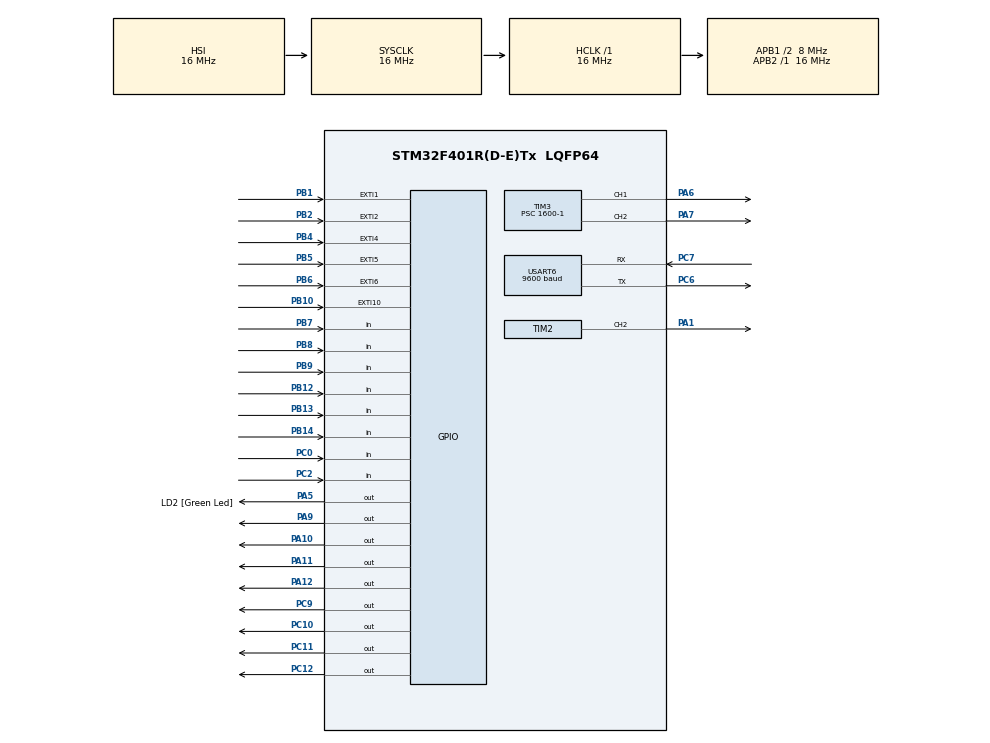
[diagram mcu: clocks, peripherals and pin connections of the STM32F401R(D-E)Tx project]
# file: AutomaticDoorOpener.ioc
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Mcu.Family=STM32F4
Mcu.Name=STM32F401R(D-E)Tx
Mcu.Package=LQFP64
NVIC.EXTI15_10_IRQn=true\:0\:0\:false\:false\:true\:true\:true
NVIC.EXTI1_IRQn=true\:0\:0\:false\:false\:true\:true\:true
NVIC.EXTI2_IRQn=true\:0\:0\:false\:false\:true\:true\:true
NVIC.EXTI4_IRQn=true\:0\:0\:false\:false\:true\:true\:true
NVIC.EXTI9_5_IRQn=true\:0\:0\:false\:false\:true\:true\:true
NVIC.PriorityGroup=NVIC_PRIORITYGROUP_0
PA1.Signal=S_TIM2_CH2
PA10.Signal=GPIO_Output
PA11.Signal=GPIO_Output
PA12.Signal=GPIO_Output
PA13.GPIO_Label=TMS
PA13.Mode=Serial_Wire
PA13.Signal=SYS_JTMS-SWDIO
PA14.GPIO_Label=TCK
PA14.Mode=Serial_Wire
PA14.Signal=SYS_JTCK-SWCLK
PA5.GPIO_Label=LD2 [Green Led]
PA5.GPIO_Mode=GPIO_MODE_OUTPUT_PP
PA5.GPIO_PuPd=GPIO_NOPULL
PA5.GPIO_Speed=GPIO_SPEED_FREQ_LOW
PA5.Signal=GPIO_Output
PA6.Signal=S_TIM3_CH1
PA7.Signal=S_TIM3_CH2
PA9.Signal=GPIO_Output
PB1.GPIO_ModeDefaultEXTI=GPIO_MODE_IT_RISING_FALLING
PB1.Signal=GPXTI1
PB10.Signal=GPXTI10
PB12.Signal=GPIO_Input
PB13.Signal=GPIO_Input
PB14.Signal=GPIO_Input
PB2.GPIO_ModeDefaultEXTI=GPIO_MODE_IT_RISING_FALLING
PB2.Signal=GPXTI2
PB4.Signal=GPXTI4
PB5.Signal=GPXTI5
PB6.Signal=GPXTI6
PB7.Signal=GPIO_Input
PB8.Signal=GPIO_Input
PB9.Signal=GPIO_Input
PC0.Signal=GPIO_Input
PC10.Signal=GPIO_Output
PC11.Signal=GPIO_Output
PC12.Signal=GPIO_Output
PC14-OSC32_IN.Mode=LSE-External-Oscillator
PC14-OSC32_IN.Signal=RCC_OSC32_IN
PC15-OSC32_OUT.Mode=LSE-External-Oscillator
PC15-OSC32_OUT.Signal=RCC_OSC32_OUT
PC2.Signal=GPIO_Input
PC6.Mode=Asynchronous
PC6.Signal=USART6_TX
PC7.Mode=Asynchronous
PC7.Signal=USART6_RX
PC9.Signal=GPIO_Output
PH0\ -\ OSC_IN.Mode=HSE-External-Clock-Source
PH0\ -\ OSC_IN.Signal=RCC_OSC_IN
PH1\ -\ OSC_OUT.Mode=HSE-External-Clock-Source
PH1\ -\ OSC_OUT.Signal=RCC_OSC_OUT
ProjectManager.HeapSize=0x200
ProjectManager.StackSize=0x400
ProjectManager.TargetToolchain=STM32CubeIDE
RCC.48MHZClocksFreq_Value=48000000
RCC.AHBFreq_Value=16000000
RCC.APB1CLKDivider=RCC_HCLK_DIV2
RCC.APB1Freq_Value=8000000
RCC.APB1TimFreq_Value=16000000
RCC.APB2Freq_Value=16000000
RCC.APB2TimFreq_Value=16000000
RCC.CortexFreq_Value=16000000
RCC.HCLKFreq_Value=16000000
RCC.HSE_VALUE=8000000
RCC.HSI_VALUE=16000000
RCC.PLLN=336
RCC.PLLP=RCC_PLLP_DIV4
RCC.PLLQ=7
RCC.SYSCLKFreq_VALUE=16000000
RCC.VCOOutputFreq_Value=336000000
SH.S_TIM2_CH2.0=TIM2_CH2,PWM Generation2 CH2
SH.S_TIM3_CH1.0=TIM3_CH1,PWM Generation1 CH1
SH.S_TIM3_CH2.0=TIM3_CH2,PWM Generation2 CH2
TIM2.Channel-PWM\ Generation2\ CH2=TIM_CHANNEL_2
TIM2.Period=5000
TIM2.Prescaler=160-1
TIM2.Pulse-PWM\ Generation2\ CH2=1
TIM3.Channel-PWM\ Generation1\ CH1=TIM_CHANNEL_1
TIM3.Channel-PWM\ Generation2\ CH2=TIM_CHANNEL_2
TIM3.Period=999
TIM3.Prescaler=1600-1
TIM3.Pulse-PWM\ Generation1\ CH1=0
USART6.BaudRate=9600
USART6.VirtualMode=VM_ASYNC
VP_TIM1_VS_ClockSourceINT.Mode=Internal
VP_TIM2_VS_ClockSourceINT.Mode=Internal
VP_TIM3_VS_ClockSourceINT.Mode=Internal
board=NUCLEO-F401RE

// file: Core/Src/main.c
/* USER CODE BEGIN Header */
/**
  ******************************************************************************
  * @file           : main.c
  * @brief          : Main program body
  ******************************************************************************
  * @attention
  *
  * <h2><center>&copy; Copyright (c) 2021 STMicroelectronics.
  * All rights reserved.</center></h2>
  *
  * This software component is licensed by ST under BSD 3-Clause license,
  * the "License"; You may not use this file except in compliance with the
  * License. You may obtain a copy of the License at:
  *                        opensource.org/licenses/BSD-3-Clause
  *
  ******************************************************************************
  */
/* USER CODE END Header */
#include "main.h"

/* USER CODE BEGIN Includes */
#include "stdio.h"
/* USER CODE END Includes */

/* USER CODE BEGIN PTD */
typedef enum
{
  LOCKED = 0,
  SETUP,
  RUN,
  IDLE
} Op_Mode;

/* USER CODE END PTD */

/* USER CODE BEGIN PM */
#define MAX_REVOLUTIONS		1200
/* USER CODE END PM */

TIM_HandleTypeDef htim1;
TIM_HandleTypeDef htim2;
TIM_HandleTypeDef htim3;

UART_HandleTypeDef huart6;

/* USER CODE BEGIN PV */
Op_Mode mode = IDLE;
uint8_t interrupt_flag = 0;
uint8_t outside_us_interrupt_flag = 0;
uint8_t inside_us_interrupt_flag = 0;
uint8_t locked_mode_buff[] = "Locked\r\n";
uint8_t locked_mode_instr_buff[] = "Open:0 Closed:1\r\n";
uint8_t setup_mode_buff[] = "Setup\r\n";
uint8_t run_mode_buff[] = "Run\r\n";
uint8_t key_buff[1];
uint8_t no_obj_buff[] = "No object detected.";
uint8_t parameter_buff[16];
uint8_t outside_dist_buff[16];
uint8_t inside_dist_buff[16];
uint16_t outside_dist = 0;
uint16_t inside_dist = 0;
uint16_t outside_pulse_start;
uint16_t outside_pulse_width = 0;
uint16_t inside_pulse_start;
uint16_t inside_pulse_width = 0;
uint16_t num_revolutions = 0;
uint8_t p1 = 2;
uint8_t p2 = 2;
uint8_t p3 = 5;
uint8_t p4 = 1;
uint8_t p5 = 1;
uint8_t command_code = 254;
uint8_t clear_code = 1;
uint8_t address_code;
uint8_t opening = 0;
uint8_t closing = 0;
uint8_t collision_occurred = 0;
uint8_t locked_pos = 2; // open: 0, closed: 1, not set: 2
/* USER CODE END PV */

void SystemClock_Config(void);
static void MX_GPIO_Init(void);
static void MX_USART6_UART_Init(void);
static void MX_TIM3_Init(void);
static void MX_TIM1_Init(void);
static void MX_TIM2_Init(void);

/* USER CODE BEGIN 0 */
void poll_keypad() {
  key_buff[0] = ' ';
  /* Read from keypad */
  /* Rotate pulses between each row and read from each column */
  for (int i = 0; i < 4; i++) {
	  if (i == 0) { // Row 1
		  HAL_GPIO_WritePin(GPIOC, GPIO_PIN_9, GPIO_PIN_SET);
		  // Read columns
		  if (HAL_GPIO_ReadPin(GPIOB, GPIO_PIN_12) == GPIO_PIN_SET) { // Column 1
			  key_buff[0] = '1';
		  } else if (HAL_GPIO_ReadPin(GPIOB, GPIO_PIN_13) == GPIO_PIN_SET) { // Column 2
			  key_buff[0] = '2';
		  } else if (HAL_GPIO_ReadPin(GPIOB, GPIO_PIN_14) == GPIO_PIN_SET) { // Column 3
			  key_buff[0] = '3';
		  }
		  HAL_GPIO_WritePin(GPIOC, GPIO_PIN_9, GPIO_PIN_RESET);
	  } else if (i == 1) { // Row 2
		  HAL_GPIO_WritePin(GPIOC, GPIO_PIN_10, GPIO_PIN_SET);
		  // Read columns
		  if (HAL_GPIO_ReadPin(GPIOB, GPIO_PIN_12) == GPIO_PIN_SET) { // Column 1
			  key_buff[0] = '4';
		  } else if (HAL_GPIO_ReadPin(GPIOB, GPIO_PIN_13) == GPIO_PIN_SET) { // Column 2
			  key_buff[0] = '5';
		  } else if (HAL_GPIO_ReadPin(GPIOB, GPIO_PIN_14) == GPIO_PIN_SET) { // Column 3
			  key_buff[0] = '6';
		  }
		  HAL_GPIO_WritePin(GPIOC, GPIO_PIN_10, GPIO_PIN_RESET);
	  } else if (i == 2) { // Row 3
		  HAL_GPIO_WritePin(GPIOC, GPIO_PIN_11, GPIO_PIN_SET);
		  // Read columns
		  if (HAL_GPIO_ReadPin(GPIOB, GPIO_PIN_12) == GPIO_PIN_SET) { // Column 1
			  key_buff[0] = '7';
		  } else if (HAL_GPIO_ReadPin(GPIOB, GPIO_PIN_13) == GPIO_PIN_SET) { // Column 2
			  key_buff[0] = '8';
		  } else if (HAL_GPIO_ReadPin(GPIOB, GPIO_PIN_14) == GPIO_PIN_SET) { // Column 3
			  key_buff[0] = '9';
		  }
		  HAL_GPIO_WritePin(GPIOC, GPIO_PIN_11, GPIO_PIN_RESET);
	  } else if (i == 3) { // Row 4
		  HAL_GPIO_WritePin(GPIOC, GPIO_PIN_12, GPIO_PIN_SET);
		  // Read columns
		  if (HAL_GPIO_ReadPin(GPIOB, GPIO_PIN_12) == GPIO_PIN_SET) { // Column 1
			  key_buff[0] = '*';
		  } else if (HAL_GPIO_ReadPin(GPIOB, GPIO_PIN_13) == GPIO_PIN_SET) { // Column 2
			  key_buff[0] = '0';
		  } else if (HAL_GPIO_ReadPin(GPIOB, GPIO_PIN_14) == GPIO_PIN_SET) { // Column 3
			  key_buff[0] = '#';
		  }
		  HAL_GPIO_WritePin(GPIOC, GPIO_PIN_12, GPIO_PIN_RESET);
	  }
	  HAL_Delay(5);
  }
}

void print_LCD(uint8_t line, uint8_t col, uint8_t* msg, uint8_t msg_len) {
	if (line == 1) {
		address_code = 128 + col;
	} else if (line == 2) {
		address_code = 192 + col;
	}
	HAL_UART_Transmit(&huart6, &command_code, 1, 1000);
	HAL_UART_Transmit(&huart6, &address_code, 1, 1000);
	HAL_UART_Transmit(&huart6, msg, msg_len, 1000);
}

void clear_LCD() {
	// Clear LCD display
	HAL_UART_Transmit(&huart6, &command_code, 1, 1000);
	HAL_UART_Transmit(&huart6, &clear_code, 1, 1000);
}

/* Spin motor clockwise */
void open_door() {
	// Ramp up to 400 rpm (0-50% duty cycle)
	if (num_revolutions < 50 / p4) {
	  uint32_t pulse = (p4 * (num_revolutions + 1) * 10) - 1;
	  __HAL_TIM_SET_COMPARE(&htim3, TIM_CHANNEL_1, pulse);
	  __HAL_TIM_SET_COMPARE(&htim3, TIM_CHANNEL_2, 0);
	}

	// Ramp down to decelerate (50-0% duty cycle)
	if (num_revolutions < MAX_REVOLUTIONS && num_revolutions >= MAX_REVOLUTIONS - 50 / p5) {
	  uint32_t pulse = 499 - (p5 * ((50 / p5) - (MAX_REVOLUTIONS - num_revolutions) + 1) * 10) + 1;
	  __HAL_TIM_SET_COMPARE(&htim3, TIM_CHANNEL_1, pulse);
	  __HAL_TIM_SET_COMPARE(&htim3, TIM_CHANNEL_2, 0);
	}
}

/* Spin motor counterclockwise */
void close_door() {
	// Ramp up to 400 rpm (0-50% duty cycle)
	if (num_revolutions < 50 / p4) {
	  uint32_t pulse = (p4 * (num_revolutions + 1) * 10) - 1;
	  __HAL_TIM_SET_COMPARE(&htim3, TIM_CHANNEL_2, pulse);
	  __HAL_TIM_SET_COMPARE(&htim3, TIM_CHANNEL_1, 0);
	}

	// Ramp down to decelerate (50-0% duty cycle)
	if (num_revolutions < MAX_REVOLUTIONS && num_revolutions >= MAX_REVOLUTIONS - 50 / p5) {
	  uint32_t pulse = 499 - (p5 * ((50 / p5) - (MAX_REVOLUTIONS - num_revolutions) + 1) * 10) + 1;
	  __HAL_TIM_SET_COMPARE(&htim3, TIM_CHANNEL_2, pulse);
	  __HAL_TIM_SET_COMPARE(&htim3, TIM_CHANNEL_1, 0);
	}
}

/* Restrict to 200 rpm after collision */
void close_door_after_collision() {
	// Ramp up to 200 rpm (0-25% duty cycle)
	if (num_revolutions < 25 / p4) {
	  uint32_t pulse = (p4 * (num_revolutions + 1) * 10) - 1;
	  __HAL_TIM_SET_COMPARE(&htim3, TIM_CHANNEL_2, pulse);
	  __HAL_TIM_SET_COMPARE(&htim3, TIM_CHANNEL_1, 0);
	}

	// Ramp down to decelerate (25-0% duty cycle)
	if (num_revolutions < MAX_REVOLUTIONS && num_revolutions >= MAX_REVOLUTIONS - 25 / p5) {
	  uint32_t pulse = 249 - (p5 * ((25 / p5) - (MAX_REVOLUTIONS - num_revolutions) + 1) * 10) + 1;
	  __HAL_TIM_SET_COMPARE(&htim3, TIM_CHANNEL_2, pulse);
	  __HAL_TIM_SET_COMPARE(&htim3, TIM_CHANNEL_1, 0);
	}
}

void stop_door() {
	// Set PWM duty cycle to 100% for both inputs to turn off motor
	__HAL_TIM_SET_COMPARE(&htim3, TIM_CHANNEL_1, 999);
	__HAL_TIM_SET_COMPARE(&htim3, TIM_CHANNEL_2, 999);
}
/* USER CODE END 0 */

int main(void)
{
  /* USER CODE BEGIN 1 */

  uint8_t finished_setup = 0;
  uint8_t setup_stage = 1;
  /* USER CODE END 1 */

  /* MCU Configuration--------------------------------------------------------*/

  /* Reset of all peripherals, Initializes the Flash interface and the Systick. */
  HAL_Init();

  /* Configure the system clock */
  SystemClock_Config();

  /* Initialize all configured peripherals */
  MX_GPIO_Init();
  MX_USART6_UART_Init();
  MX_TIM3_Init();
  MX_TIM1_Init();
  MX_TIM2_Init();
  /* USER CODE BEGIN 2 */
  HAL_TIM_Base_Start(&htim3); //Start the TIM3 module
  HAL_TIM_PWM_Start(&htim3, TIM_CHANNEL_1); //Start PWM on CH1
  HAL_TIM_PWM_Start(&htim3, TIM_CHANNEL_2); //Start PWM on CH2

  HAL_TIM_Base_Start(&htim2); //Start the TIM2 module
  HAL_TIM_PWM_Start(&htim2, TIM_CHANNEL_2); //Start PWM on CH2
  /* USER CODE END 2 */

  /* Infinite loop */
  while (1)
  {

    /* USER CODE BEGIN 3 */

	  /* Get operating mode from push buttons and write to LCD display */
	  if (interrupt_flag == 1) {
		  clear_LCD();
		  HAL_Delay(20);
		  if (mode == LOCKED) {
			  print_LCD(1, 0, locked_mode_buff, sizeof(locked_mode_buff));
			  print_LCD(2, 0, locked_mode_instr_buff, sizeof(locked_mode_instr_buff));
		  } else if (mode == SETUP) {
			  finished_setup = 0;
			  setup_stage = 1;
			  print_LCD(1, 0, setup_mode_buff, sizeof(setup_mode_buff));
			  print_LCD(2, 0, parameter_buff, sprintf((char*) parameter_buff, "P%d: %d feet", 1, p1));
		  } else if (mode == RUN) {
			  print_LCD(1, 0, run_mode_buff, sizeof(run_mode_buff));
			  uint32_t pulse = (p4 * 10) - 1;
			  __HAL_TIM_SET_COMPARE(&htim3, TIM_CHANNEL_1, pulse);
		  }
		  interrupt_flag = 0;
	  }

	  /* Flash Red LED when door is in motion (none of the switches are on and not in setup mode) */
	  if (HAL_GPIO_ReadPin(GPIOB, GPIO_PIN_7) == GPIO_PIN_RESET &&
			  HAL_GPIO_ReadPin(GPIOB, GPIO_PIN_8) == GPIO_PIN_RESET &&
			  HAL_GPIO_ReadPin(GPIOB, GPIO_PIN_9) == GPIO_PIN_RESET &&
			  (mode == LOCKED || mode == RUN)) {
		  HAL_GPIO_TogglePin(GPIOA, GPIO_PIN_9);
		  HAL_Delay(100);
	  } else {
		  /* Turn off LED */
		  HAL_GPIO_WritePin(GPIOA, GPIO_PIN_9, GPIO_PIN_RESET);
	  }

	  /* Flash Yellow LED if collision switch is hit */
	  if (HAL_GPIO_ReadPin(GPIOB, GPIO_PIN_9) == GPIO_PIN_SET && (mode == LOCKED || mode == RUN)) {
		  collision_occurred = 1;
		  stop_door();
		  HAL_GPIO_TogglePin(GPIOA, GPIO_PIN_10);
		  HAL_Delay(100);
	  } else {
		  /* Turn off LED */
		  HAL_GPIO_WritePin(GPIOA, GPIO_PIN_10, GPIO_PIN_RESET);

		  if (collision_occurred == 1 && HAL_GPIO_ReadPin(GPIOB, GPIO_PIN_9) == GPIO_PIN_RESET && (mode == LOCKED || mode == RUN)) {
			  if (opening == 1) {
				  num_revolutions = MAX_REVOLUTIONS - num_revolutions;
			  }
			  // Start closing door
			  closing = 1;
			  opening = 0;
		  }
	  }

	  // Get distance from outside sensor
	  if (outside_us_interrupt_flag == 1 && mode == RUN) {
		  outside_dist = outside_pulse_width * 10; // in microseconds
		  if (outside_dist == 38000) { // 38 ms
			  // No object
			  HAL_GPIO_WritePin(GPIOA, GPIO_PIN_11, GPIO_PIN_RESET);
		  } else {
			  outside_dist = outside_dist / 58; // cm
			  /* Turn on Green LED1 if outside sensor detects object within P1 distance */
			  if (outside_dist <= p1 * 30.48) {
				  HAL_GPIO_WritePin(GPIOA, GPIO_PIN_11, GPIO_PIN_SET);
				  if (closing == 1) {
					  num_revolutions = MAX_REVOLUTIONS - num_revolutions;
				  }
				  // Open door when object is nearby
				  opening = 1;
				  closing = 0;
			  } else {
				  HAL_GPIO_WritePin(GPIOA, GPIO_PIN_11, GPIO_PIN_RESET);
			  }
		  }
		  outside_us_interrupt_flag = 0;
	  }

	  // Get distance from inside sensor
	  if (inside_us_interrupt_flag == 1 && mode == RUN) {
		  inside_dist = inside_pulse_width * 10; // in microseconds
		  if (inside_dist == 38000) { // 38 ms
			  // No object
			  HAL_GPIO_WritePin(GPIOA, GPIO_PIN_12, GPIO_PIN_RESET);
		  } else {
			  inside_dist = inside_dist / 58; // cm
			  /* Turn on Green LED2 if inside sensor detects object within P2 distance */
			  if (inside_dist <= p2 * 30.48) {
				  HAL_GPIO_WritePin(GPIOA, GPIO_PIN_12, GPIO_PIN_SET);
				  if (closing == 1) {
					  num_revolutions = MAX_REVOLUTIONS - num_revolutions;
				  }
				  // Open door when object is nearby
				  opening = 1;
				  closing = 0;
			  } else {
				  HAL_GPIO_WritePin(GPIOA, GPIO_PIN_12, GPIO_PIN_RESET);
			  }
		  }
		  inside_us_interrupt_flag = 0;
	  }

	  /* LOCKED mode */
	  if (mode == LOCKED) {
		  // Get input from user (fully open or fully close)
		  poll_keypad();
		  if (key_buff[0] == '0') { // Open position
			  locked_pos = 0;
		  } else if (key_buff[0] == '1') { // Closed position
			  locked_pos = 1;
		  }

		  if (locked_pos == 0) { // Open
			  open_door();
		  } else if (locked_pos == 1) { // Close
			  if (collision_occurred == 1 && HAL_GPIO_ReadPin(GPIOB, GPIO_PIN_9) == GPIO_PIN_RESET) {
				  close_door_after_collision();
			  } else if (collision_occurred == 0) {
				  close_door();
			  }
		  }

		  /* Disable door motor power when limit switches are hit (fully closed/fully open) */
		  if (HAL_GPIO_ReadPin(GPIOB, GPIO_PIN_7) == GPIO_PIN_SET || HAL_GPIO_ReadPin(GPIOB, GPIO_PIN_8) == GPIO_PIN_SET) {
			  locked_pos = 2; // clear position
			  stop_door();
			  collision_occurred = 0;
			  num_revolutions = 0;
		  }
	  }

	  /* SETUP mode: Get settings from user */
	  if (mode == SETUP) {
		  // Disable door motor
		  __HAL_TIM_SET_COMPARE(&htim3, TIM_CHANNEL_1, 999);
		  __HAL_TIM_SET_COMPARE(&htim3, TIM_CHANNEL_2, 999);

		  if (!finished_setup) {
			  poll_keypad();

			  // Move to next setup stage
			  if (key_buff[0] == '#') {
				  setup_stage = (setup_stage % 5) + 1;
			  }

			  // Finish setup
			  if (key_buff[0] == '*') {
				  finished_setup = 1;
				  clear_LCD();
			  } else {
				  if (setup_stage == 1) { // p1
					  if (key_buff[0] >= '1' && key_buff[0] <= '4') {
						  p1 = (key_buff[0] - 48) * 2;
					  }
					  sprintf((char*) parameter_buff, "P%d: %d feet", setup_stage, p1);
				  } else if (setup_stage == 2) { // p2
					  if (key_buff[0] >= '1' && key_buff[0] <= '4') {
						  p2 = (key_buff[0] - 48) * 2;
					  }
					  sprintf((char*) parameter_buff, "P%d: %d feet", setup_stage, p2);
				  } else if (setup_stage == 3) { // p3
					  if (key_buff[0] >= '1' && key_buff[0] <= '4') {
						  p3 = (key_buff[0] - 48) * 5;
					  }
					  sprintf((char*) parameter_buff, "P%d: %d sec", setup_stage, p3);
				  } else if (setup_stage == 4) { // p4
					  if (key_buff[0] >= '1' && key_buff[0] <= '3') {
						  if (key_buff[0] == '1') {
							  p4 = 1;
						  } else if (key_buff[0] == '2') {
							  p4 = 2;
						  } else if (key_buff[0] == '3') {
							  p4 = 5;
						  }
					  }
					  sprintf((char*) parameter_buff, "P%d: %d\r\n\r\n", setup_stage, p4);
				  } else if (setup_stage == 5) { // p5
					  if (key_buff[0] >= '1' && key_buff[0] <= '3') {
						  if (key_buff[0] == '1') {
							  p4 = 1;
						  } else if (key_buff[0] == '2') {
							  p4 = 2;
						  } else if (key_buff[0] == '3') {
							  p4 = 5;
						  }
					  }
					  sprintf((char*) parameter_buff, "P%d: %d\r\n\r\n", setup_stage, p5);
				  }

				  if (key_buff[0] != ' ') {
					  print_LCD(2, 0, parameter_buff, 16);
				  }
			  }
		  }
	  }

	  if (mode == RUN) {
		  // 1200 revolutions == 8ft (for 150 rev/foot)

		  // Open door (spin motor clockwise)
		  if (opening == 1) {
			  /* Disable door motor power when max limit switch is hit (fully open) */
			  if (HAL_GPIO_ReadPin(GPIOB, GPIO_PIN_8) == GPIO_PIN_SET) {
				  stop_door();
				  opening = 0;
				  // Keep door open for p3 seconds after fully open
				  HAL_Delay(p3 * 1000); // ms
				  closing = 1; // Close door
				  num_revolutions = 0;
			  } else {
				  open_door();
			  }
		  } else if (closing == 1) { // Close door (spin motor counterclockwise)
			  /* Disable door motor power when min limit switch is hit (fully closed) */
			  if (HAL_GPIO_ReadPin(GPIOB, GPIO_PIN_7) == GPIO_PIN_SET) {
				  stop_door();
				  closing = 0;
				  collision_occurred = 0;
				  num_revolutions = 0;
			  } else {
				  if (collision_occurred == 1 && HAL_GPIO_ReadPin(GPIOB, GPIO_PIN_9) == GPIO_PIN_RESET) {
					  close_door_after_collision();
				  } else if (collision_occurred == 0) {
					  close_door();
				  }
			  }
		  }
	  }
  }
  /* USER CODE END 3 */
}

void SystemClock_Config(void)
{
  RCC_OscInitTypeDef RCC_OscInitStruct = {0};
  RCC_ClkInitTypeDef RCC_ClkInitStruct = {0};

  /** Configure the main internal regulator output voltage
  */
  __HAL_RCC_PWR_CLK_ENABLE();
  __HAL_PWR_VOLTAGESCALING_CONFIG(PWR_REGULATOR_VOLTAGE_SCALE2);
  /** Initializes the RCC Oscillators according to the specified parameters
  * in the RCC_OscInitTypeDef structure.
  */
  RCC_OscInitStruct.OscillatorType = RCC_OSCILLATORTYPE_HSI;
  RCC_OscInitStruct.HSIState = RCC_HSI_ON;
  RCC_OscInitStruct.HSICalibrationValue = RCC_HSICALIBRATION_DEFAULT;
  RCC_OscInitStruct.PLL.PLLState = RCC_PLL_NONE;
  if (HAL_RCC_OscConfig(&RCC_OscInitStruct) != HAL_OK)
  {
    Error_Handler();
  }
  /** Initializes the CPU, AHB and APB buses clocks
  */
  RCC_ClkInitStruct.ClockType = RCC_CLOCKTYPE_HCLK|RCC_CLOCKTYPE_SYSCLK
                              |RCC_CLOCKTYPE_PCLK1|RCC_CLOCKTYPE_PCLK2;
  RCC_ClkInitStruct.SYSCLKSource = RCC_SYSCLKSOURCE_HSI;
  RCC_ClkInitStruct.AHBCLKDivider = RCC_SYSCLK_DIV1;
  RCC_ClkInitStruct.APB1CLKDivider = RCC_HCLK_DIV2;
  RCC_ClkInitStruct.APB2CLKDivider = RCC_HCLK_DIV1;

  if (HAL_RCC_ClockConfig(&RCC_ClkInitStruct, FLASH_LATENCY_0) != HAL_OK)
  {
    Error_Handler();
  }
}

static void MX_TIM1_Init(void)
{

  TIM_ClockConfigTypeDef sClockSourceConfig = {0};
  TIM_MasterConfigTypeDef sMasterConfig = {0};

  htim1.Instance = TIM1;
  htim1.Init.Prescaler = 0;
  htim1.Init.CounterMode = TIM_COUNTERMODE_UP;
  htim1.Init.Period = 65535;
  htim1.Init.ClockDivision = TIM_CLOCKDIVISION_DIV1;
  htim1.Init.RepetitionCounter = 0;
  htim1.Init.AutoReloadPreload = TIM_AUTORELOAD_PRELOAD_DISABLE;
  if (HAL_TIM_Base_Init(&htim1) != HAL_OK)
  {
    Error_Handler();
  }
  sClockSourceConfig.ClockSource = TIM_CLOCKSOURCE_INTERNAL;
  if (HAL_TIM_ConfigClockSource(&htim1, &sClockSourceConfig) != HAL_OK)
  {
    Error_Handler();
  }
  sMasterConfig.MasterOutputTrigger = TIM_TRGO_RESET;
  sMasterConfig.MasterSlaveMode = TIM_MASTERSLAVEMODE_DISABLE;
  if (HAL_TIMEx_MasterConfigSynchronization(&htim1, &sMasterConfig) != HAL_OK)
  {
    Error_Handler();
  }

}

static void MX_TIM2_Init(void)
{

  TIM_ClockConfigTypeDef sClockSourceConfig = {0};
  TIM_MasterConfigTypeDef sMasterConfig = {0};
  TIM_OC_InitTypeDef sConfigOC = {0};

  htim2.Instance = TIM2;
  htim2.Init.Prescaler = 160-1;
  htim2.Init.CounterMode = TIM_COUNTERMODE_UP;
  htim2.Init.Period = 5000;
  htim2.Init.ClockDivision = TIM_CLOCKDIVISION_DIV1;
  htim2.Init.AutoReloadPreload = TIM_AUTORELOAD_PRELOAD_DISABLE;
  if (HAL_TIM_Base_Init(&htim2) != HAL_OK)
  {
    Error_Handler();
  }
  sClockSourceConfig.ClockSource = TIM_CLOCKSOURCE_INTERNAL;
  if (HAL_TIM_ConfigClockSource(&htim2, &sClockSourceConfig) != HAL_OK)
  {
    Error_Handler();
  }
  if (HAL_TIM_PWM_Init(&htim2) != HAL_OK)
  {
    Error_Handler();
  }
  sMasterConfig.MasterOutputTrigger = TIM_TRGO_RESET;
  sMasterConfig.MasterSlaveMode = TIM_MASTERSLAVEMODE_DISABLE;
  if (HAL_TIMEx_MasterConfigSynchronization(&htim2, &sMasterConfig) != HAL_OK)
  {
    Error_Handler();
  }
  sConfigOC.OCMode = TIM_OCMODE_PWM1;
  sConfigOC.Pulse = 1;
  sConfigOC.OCPolarity = TIM_OCPOLARITY_HIGH;
  sConfigOC.OCFastMode = TIM_OCFAST_DISABLE;
  if (HAL_TIM_PWM_ConfigChannel(&htim2, &sConfigOC, TIM_CHANNEL_2) != HAL_OK)
  {
    Error_Handler();
  }
  HAL_TIM_MspPostInit(&htim2);

}

static void MX_TIM3_Init(void)
{

  TIM_ClockConfigTypeDef sClockSourceConfig = {0};
  TIM_MasterConfigTypeDef sMasterConfig = {0};
  TIM_OC_InitTypeDef sConfigOC = {0};

  htim3.Instance = TIM3;
  htim3.Init.Prescaler = 1600-1;
  htim3.Init.CounterMode = TIM_COUNTERMODE_UP;
  htim3.Init.Period = 999;
  htim3.Init.ClockDivision = TIM_CLOCKDIVISION_DIV1;
  htim3.Init.AutoReloadPreload = TIM_AUTORELOAD_PRELOAD_DISABLE;
  if (HAL_TIM_Base_Init(&htim3) != HAL_OK)
  {
    Error_Handler();
  }
  sClockSourceConfig.ClockSource = TIM_CLOCKSOURCE_INTERNAL;
  if (HAL_TIM_ConfigClockSource(&htim3, &sClockSourceConfig) != HAL_OK)
  {
    Error_Handler();
  }
  if (HAL_TIM_PWM_Init(&htim3) != HAL_OK)
  {
    Error_Handler();
  }
  sMasterConfig.MasterOutputTrigger = TIM_TRGO_RESET;
  sMasterConfig.MasterSlaveMode = TIM_MASTERSLAVEMODE_DISABLE;
  if (HAL_TIMEx_MasterConfigSynchronization(&htim3, &sMasterConfig) != HAL_OK)
  {
    Error_Handler();
  }
  sConfigOC.OCMode = TIM_OCMODE_PWM1;
  sConfigOC.Pulse = 0;
  sConfigOC.OCPolarity = TIM_OCPOLARITY_HIGH;
  sConfigOC.OCFastMode = TIM_OCFAST_DISABLE;
  if (HAL_TIM_PWM_ConfigChannel(&htim3, &sConfigOC, TIM_CHANNEL_1) != HAL_OK)
  {
    Error_Handler();
  }
  if (HAL_TIM_PWM_ConfigChannel(&htim3, &sConfigOC, TIM_CHANNEL_2) != HAL_OK)
  {
    Error_Handler();
  }
  HAL_TIM_MspPostInit(&htim3);

}

static void MX_USART6_UART_Init(void)
{

  huart6.Instance = USART6;
  huart6.Init.BaudRate = 9600;
  huart6.Init.WordLength = UART_WORDLENGTH_8B;
  huart6.Init.StopBits = UART_STOPBITS_1;
  huart6.Init.Parity = UART_PARITY_NONE;
  huart6.Init.Mode = UART_MODE_TX_RX;
  huart6.Init.HwFlowCtl = UART_HWCONTROL_NONE;
  huart6.Init.OverSampling = UART_OVERSAMPLING_16;
  if (HAL_UART_Init(&huart6) != HAL_OK)
  {
    Error_Handler();
  }

}

static void MX_GPIO_Init(void)
{
  GPIO_InitTypeDef GPIO_InitStruct = {0};

  /* GPIO Ports Clock Enable */
  __HAL_RCC_GPIOC_CLK_ENABLE();
  __HAL_RCC_GPIOH_CLK_ENABLE();
  __HAL_RCC_GPIOA_CLK_ENABLE();
  __HAL_RCC_GPIOB_CLK_ENABLE();

  /*Configure GPIO pin Output Level */
  HAL_GPIO_WritePin(GPIOA, LD2_Pin|GPIO_PIN_9|GPIO_PIN_10|GPIO_PIN_11
                          |GPIO_PIN_12, GPIO_PIN_RESET);

  /*Configure GPIO pin Output Level */
  HAL_GPIO_WritePin(GPIOC, GPIO_PIN_9|GPIO_PIN_10|GPIO_PIN_11|GPIO_PIN_12, GPIO_PIN_RESET);

  /*Configure GPIO pins : PC0 PC2 */
  GPIO_InitStruct.Pin = GPIO_PIN_0|GPIO_PIN_2;
  GPIO_InitStruct.Mode = GPIO_MODE_INPUT;
  GPIO_InitStruct.Pull = GPIO_NOPULL;
  HAL_GPIO_Init(GPIOC, &GPIO_InitStruct);

  /*Configure GPIO pins : LD2_Pin PA9 PA10 PA11
                           PA12 */
  GPIO_InitStruct.Pin = LD2_Pin|GPIO_PIN_9|GPIO_PIN_10|GPIO_PIN_11
                          |GPIO_PIN_12;
  GPIO_InitStruct.Mode = GPIO_MODE_OUTPUT_PP;
  GPIO_InitStruct.Pull = GPIO_NOPULL;
  GPIO_InitStruct.Speed = GPIO_SPEED_FREQ_LOW;
  HAL_GPIO_Init(GPIOA, &GPIO_InitStruct);

  /*Configure GPIO pins : PB1 PB2 */
  GPIO_InitStruct.Pin = GPIO_PIN_1|GPIO_PIN_2;
  GPIO_InitStruct.Mode = GPIO_MODE_IT_RISING_FALLING;
  GPIO_InitStruct.Pull = GPIO_NOPULL;
  HAL_GPIO_Init(GPIOB, &GPIO_InitStruct);

  /*Configure GPIO pins : PB10 PB4 PB5 PB6 */
  GPIO_InitStruct.Pin = GPIO_PIN_10|GPIO_PIN_4|GPIO_PIN_5|GPIO_PIN_6;
  GPIO_InitStruct.Mode = GPIO_MODE_IT_RISING;
  GPIO_InitStruct.Pull = GPIO_NOPULL;
  HAL_GPIO_Init(GPIOB, &GPIO_InitStruct);

  /*Configure GPIO pins : PB12 PB13 PB14 PB7
                           PB8 PB9 */
  GPIO_InitStruct.Pin = GPIO_PIN_12|GPIO_PIN_13|GPIO_PIN_14|GPIO_PIN_7
                          |GPIO_PIN_8|GPIO_PIN_9;
  GPIO_InitStruct.Mode = GPIO_MODE_INPUT;
  GPIO_InitStruct.Pull = GPIO_NOPULL;
  HAL_GPIO_Init(GPIOB, &GPIO_InitStruct);

  /*Configure GPIO pins : PC9 PC10 PC11 PC12 */
  GPIO_InitStruct.Pin = GPIO_PIN_9|GPIO_PIN_10|GPIO_PIN_11|GPIO_PIN_12;
  GPIO_InitStruct.Mode = GPIO_MODE_OUTPUT_PP;
  GPIO_InitStruct.Pull = GPIO_NOPULL;
  GPIO_InitStruct.Speed = GPIO_SPEED_FREQ_LOW;
  HAL_GPIO_Init(GPIOC, &GPIO_InitStruct);

  /* EXTI interrupt init*/
  HAL_NVIC_SetPriority(EXTI1_IRQn, 0, 0);
  HAL_NVIC_EnableIRQ(EXTI1_IRQn);

  HAL_NVIC_SetPriority(EXTI2_IRQn, 0, 0);
  HAL_NVIC_EnableIRQ(EXTI2_IRQn);

  HAL_NVIC_SetPriority(EXTI4_IRQn, 0, 0);
  HAL_NVIC_EnableIRQ(EXTI4_IRQn);

  HAL_NVIC_SetPriority(EXTI9_5_IRQn, 0, 0);
  HAL_NVIC_EnableIRQ(EXTI9_5_IRQn);

  HAL_NVIC_SetPriority(EXTI15_10_IRQn, 0, 0);
  HAL_NVIC_EnableIRQ(EXTI15_10_IRQn);

}

/* USER CODE BEGIN 4 */
void HAL_GPIO_EXTI_Callback(uint16_t GPIO_Pin)
{
	/* Get pulse width from ultrasonic sensors */
	if (GPIO_Pin == GPIO_PIN_1) {
		if (HAL_GPIO_ReadPin(GPIOB, GPIO_PIN_1) == GPIO_PIN_SET) { // Rising edge
			outside_pulse_start = __HAL_TIM_GetCounter(&htim2);
		} else if (HAL_GPIO_ReadPin(GPIOB, GPIO_PIN_1) == GPIO_PIN_RESET) { // Falling edge
			outside_pulse_width = __HAL_TIM_GetCounter(&htim2) - outside_pulse_start;
			outside_us_interrupt_flag = 1;
		}
	}
	if (GPIO_Pin == GPIO_PIN_2) {
		if (HAL_GPIO_ReadPin(GPIOB, GPIO_PIN_2) == GPIO_PIN_SET) { // Rising edge
			inside_pulse_start = __HAL_TIM_GetCounter(&htim2);
		} else if (HAL_GPIO_ReadPin(GPIOB, GPIO_PIN_2) == GPIO_PIN_RESET) { // Falling edge
			inside_pulse_width = __HAL_TIM_GetCounter(&htim2) - inside_pulse_start;
			inside_us_interrupt_flag = 1;
		}
	}

	/* Get number of revolutions from motor */
	if (GPIO_Pin == GPIO_PIN_10) {
		num_revolutions++;
	}

	/* Get operating mode from push buttons and write to LCD display */
	if (GPIO_Pin == GPIO_PIN_4) {
		interrupt_flag = 1;
		mode = LOCKED;
	}
	if (GPIO_Pin == GPIO_PIN_5) {
		interrupt_flag = 1;
		mode = SETUP;
	}
	if (GPIO_Pin == GPIO_PIN_6) {
		interrupt_flag = 1;
		mode = RUN;
	}
}

/* USER CODE END 4 */

void Error_Handler(void)
{
  __disable_irq();
  while (1)
  {
  }
}

/************************ (C) COPYRIGHT STMicroelectronics *****END OF FILE****/
